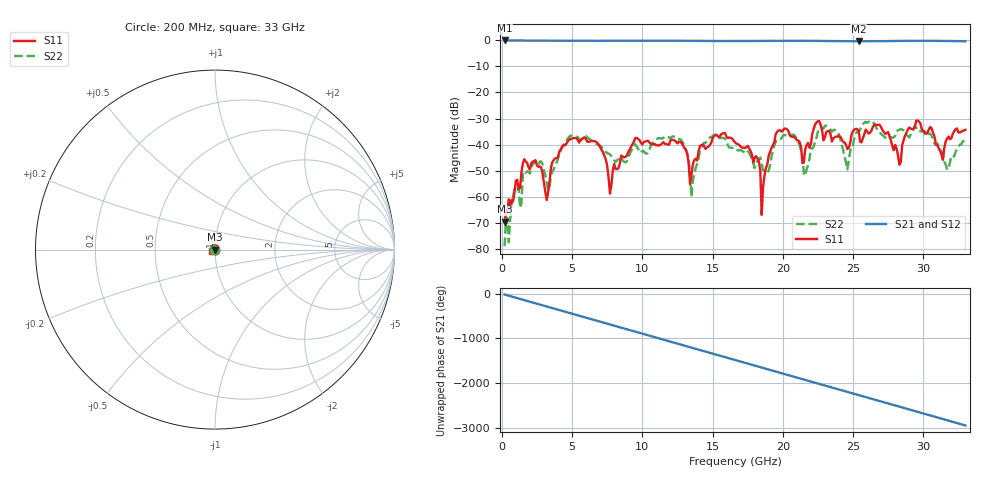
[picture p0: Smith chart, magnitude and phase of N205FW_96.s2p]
# GHZ S RI R 50
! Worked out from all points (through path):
!   329 points, 200 MHz to 33 GHz, reference 50 ohm
!   highest |S21| = -0.01 dB at 200 MHz (marker M1); lowest = -0.3 dB at 25.4 GHz (marker M2)
!   group delay of S21, straight-line fit = 248 ps
!   lowest |S11| = -69.6 dB at 200 MHz (marker M3), VSWR 1.00, Z = 50 - j0.0263 ohm
!   |S11| at or under -10 dB: start of sweep to end of sweep
!   |S22| runs from -79.0 to -30.9 dB; largest |S21 - S12| = 0.0022
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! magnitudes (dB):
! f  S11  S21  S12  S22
! 200 MHz  -69.6  0.0  0.0  -79.0
! 1.6 GHz  -45.7  0.0  0.0  -50.2
! 3.2 GHz  -61.3  -0.1  -0.1  -54.4
! 5.7 GHz  -37.9  -0.1  -0.1  -37.7
! 7.7 GHz  -58.8  -0.1  -0.1  -43.8
! 9.5 GHz  -37.5  -0.1  -0.1  -39.9
! 11.2 GHz  -40.3  -0.1  -0.1  -37.5
! 12.9 GHz  -40.3  -0.1  -0.1  -39.4
! 13.5 GHz  -51.6  -0.2  -0.2  -60.1
! 14.4 GHz  -40.6  -0.2  -0.2  -39.3
! 16.6 GHz  -39.1  -0.2  -0.2  -41.7
! 18.3 GHz  -46.4  -0.2  -0.2  -45.5
! 18.5 GHz  -67.0  -0.2  -0.2  -47.4
! 19.6 GHz  -35.1  -0.1  -0.1  -38.8
! 21.4 GHz  -47.1  -0.2  -0.2  -43.8
! 22.1 GHz  -35.9  -0.2  -0.2  -41.6
! 23.7 GHz  -37.2  -0.3  -0.3  -34.3
! 24.6 GHz  -41.7  -0.3  -0.3  -49.6
! 25.4 GHz  -34.6  -0.3  -0.3  -34.8
! 27.6 GHz  -36.8  -0.2  -0.2  -36.9
! 31.7 GHz  -37.7  -0.2  -0.2  -49.7
! 33 GHz  -34.3  -0.3  -0.3  -37.5
